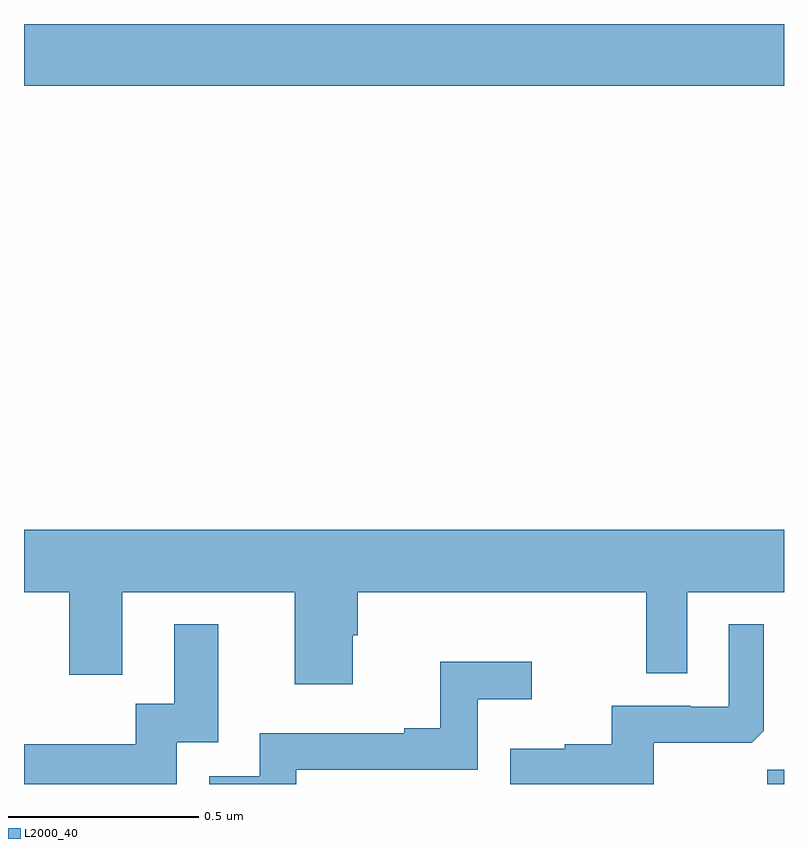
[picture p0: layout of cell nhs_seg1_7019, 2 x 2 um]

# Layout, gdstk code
import gdstk
lib = gdstk.Library(unit=1e-6, precision=1e-09)
def R(c, l, rs):  # rectangles x0, y0, x1, y1
    for r in rs: c.add(gdstk.rectangle(r[:2], r[2:], *l))
def P(c, l, *ps):  # polygons
    for p in ps: c.add(gdstk.Polygon(p, *l))
L2000_40 = (2000, 40)

nhs_seg1_7019 = lib.new_cell('nhs_seg1_7019')
R(nhs_seg1_7019, L2000_40, [(199.956,579.199,200,579.236), (198,581.036,200,581.199)])
P(nhs_seg1_7019, L2000_40, [(198.865,579.591),(198.878,579.591),(198.878,579.704),(199.638,579.704),(199.638,579.49),(199.746,579.49),(199.746,579.704),(200,579.704),(200,579.868),(198,579.868),(198,579.704),(198.119,579.704),(198.119,579.486),(198.259,579.486),(198.259,579.704),(198.713,579.704),(198.713,579.462),(198.865,579.462)],
  [(198.402,579.309),(198.511,579.309),(198.511,579.619),(198.395,579.619),(198.395,579.41),(198.294,579.41),(198.294,579.304),(198,579.304),(198,579.199),(198.402,579.199)],
  [(199.657,579.308),(199.915,579.308),(199.947,579.339),(199.947,579.619),(199.854,579.619),(199.854,579.402),(199.754,579.402),(199.754,579.405),(199.547,579.405),(199.547,579.304),(199.423,579.304),(199.423,579.292),(199.279,579.292),(199.279,579.199),(199.657,579.199)],
  [(198.717,579.237),(199.194,579.237),(199.194,579.422),(199.336,579.422),(199.336,579.521),(199.096,579.521),(199.096,579.346),(199.001,579.346),(199.001,579.333),(198.621,579.333),(198.621,579.219),(198.487,579.219),(198.487,579.199),(198.717,579.199)])

lib.write_gds('nhs_seg1_7019.gds')
